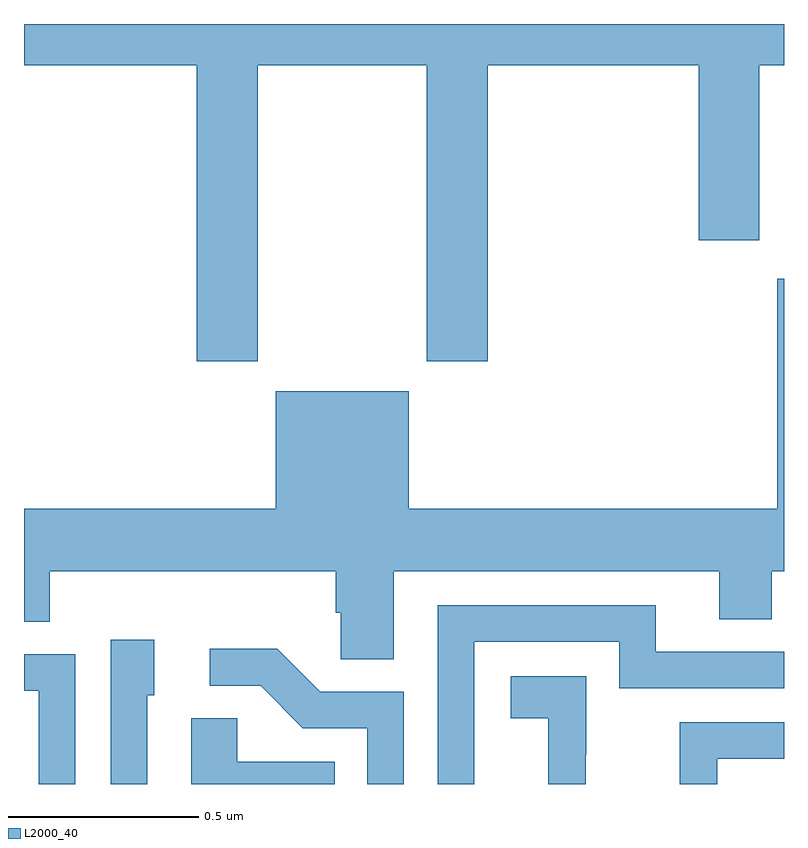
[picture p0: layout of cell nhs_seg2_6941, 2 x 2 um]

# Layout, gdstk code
import gdstk
lib = gdstk.Library(unit=1e-6, precision=1e-09)
def P(c, l, *ps):  # polygons
    for p in ps: c.add(gdstk.Polygon(p, *l))
L2000_40 = (2000, 40)

nhs_seg2_6941 = lib.new_cell('nhs_seg2_6941')
P(nhs_seg2_6941, L2000_40, [(198,591.692),(198.455,591.692),(198.455,590.913),(198.615,590.913),(198.615,591.692),(199.06,591.692),(199.06,590.913),(199.22,590.913),(199.22,591.692),(199.775,591.692),(199.775,591.231),(199.935,591.231),(199.935,591.692),(200,591.692),(200,591.8),(198,591.8)],
  [(198.973,590.36),(199.829,590.36),(199.829,590.233),(199.968,590.233),(199.968,590.36),(200,590.36),(200,591.13),(199.982,591.13),(199.982,590.524),(199.012,590.524),(199.012,590.833),(198.662,590.833),(198.662,590.524),(198,590.524),(198,590.227),(198.068,590.227),(198.068,590.36),(198.821,590.36),(198.821,590.251),(198.834,590.251),(198.834,590.128),(198.973,590.128)],
  [(199.185,590.175),(199.566,590.175),(199.566,590.052),(200,590.052),(200,590.148),(199.663,590.148),(199.663,590.271),(199.089,590.271),(199.089,589.8),(199.185,589.8)],
  [(198.324,590.034),(198.343,590.034),(198.343,590.179),(198.228,590.179),(198.228,589.8),(198.324,589.8)],
  [(198.999,590.043),(198.78,590.043),(198.667,590.156),(198.489,590.156),(198.489,590.058),(198.623,590.058),(198.734,589.947),(198.903,589.947),(198.903,589.8),(198.999,589.8)],
  [(198.135,590.142),(198,590.142),(198,590.046),(198.039,590.046),(198.039,589.8),(198.135,589.8)],
  [(199.478,589.877),(199.479,589.877),(199.479,590.083),(199.281,590.083),(199.281,589.973),(199.379,589.973),(199.379,589.8),(199.478,589.8)],
  [(198.818,589.858),(198.561,589.858),(198.561,589.973),(198.44,589.973),(198.44,589.8),(198.818,589.8)],
  [(199.824,589.866),(200,589.866),(200,589.962),(199.726,589.962),(199.726,589.8),(199.824,589.8)])

lib.write_gds('nhs_seg2_6941.gds')
